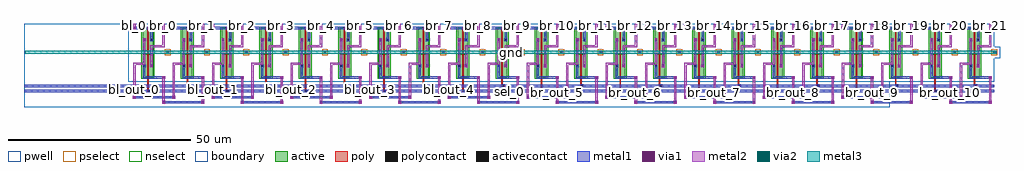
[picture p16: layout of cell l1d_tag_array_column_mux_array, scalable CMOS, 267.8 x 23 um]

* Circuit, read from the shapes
.subckt l1d_tag_array_column_mux_array bl_0 bl_1 bl_10 bl_11 bl_12 bl_13 bl_14 bl_15 bl_16 bl_17 bl_18 bl_19 bl_2 bl_20 bl_21 bl_3 bl_4 bl_5 bl_6 bl_7 bl_8 bl_9 bl_out_0 bl_out_1 bl_out_10 bl_out_2 bl_out_3 bl_out_4 bl_out_5 bl_out_6 bl_out_7 bl_out_8 bl_out_9 br_0 br_1 br_10 br_11 br_12 br_13 br_14 br_15 br_16 br_17 br_18 br_19 br_2 br_20 br_21 br_3 br_4 br_5 br_6 br_7 br_8 br_9 br_out_0 br_out_1 br_out_10 br_out_2 br_out_3 br_out_4 br_out_5 br_out_6 br_out_7 br_out_8 br_out_9 gnd sel_0 sel_1
M1 br_0 sel_0 br_out_0 gnd nfet w=6.4u l=0.4u
M2 bl_0 sel_0 bl_out_0 gnd nfet w=6.4u l=0.4u
M3 br_1 sel_1 br_out_0 gnd nfet w=6.4u l=0.4u
M4 bl_1 sel_1 bl_out_0 gnd nfet w=6.4u l=0.4u
M5 br_2 sel_0 br_out_1 gnd nfet w=6.4u l=0.4u
M6 bl_2 sel_0 bl_out_1 gnd nfet w=6.4u l=0.4u
M7 br_3 sel_1 br_out_1 gnd nfet w=6.4u l=0.4u
M8 bl_3 sel_1 bl_out_1 gnd nfet w=6.4u l=0.4u
M9 br_4 sel_0 br_out_2 gnd nfet w=6.4u l=0.4u
M10 bl_4 sel_0 bl_out_2 gnd nfet w=6.4u l=0.4u
M11 br_5 sel_1 br_out_2 gnd nfet w=6.4u l=0.4u
M12 bl_5 sel_1 bl_out_2 gnd nfet w=6.4u l=0.4u
M13 br_6 sel_0 br_out_3 gnd nfet w=6.4u l=0.4u
M14 bl_6 sel_0 bl_out_3 gnd nfet w=6.4u l=0.4u
M15 br_7 sel_1 br_out_3 gnd nfet w=6.4u l=0.4u
M16 bl_7 sel_1 bl_out_3 gnd nfet w=6.4u l=0.4u
M17 br_8 sel_0 br_out_4 gnd nfet w=6.4u l=0.4u
M18 bl_8 sel_0 bl_out_4 gnd nfet w=6.4u l=0.4u
M19 br_9 sel_1 br_out_4 gnd nfet w=6.4u l=0.4u
M20 bl_9 sel_1 bl_out_4 gnd nfet w=6.4u l=0.4u
M21 br_10 sel_0 br_out_5 gnd nfet w=6.4u l=0.4u
M22 bl_10 sel_0 bl_out_5 gnd nfet w=6.4u l=0.4u
M23 br_11 sel_1 br_out_5 gnd nfet w=6.4u l=0.4u
M24 bl_11 sel_1 bl_out_5 gnd nfet w=6.4u l=0.4u
M25 br_12 sel_0 br_out_6 gnd nfet w=6.4u l=0.4u
M26 bl_12 sel_0 bl_out_6 gnd nfet w=6.4u l=0.4u
M27 br_13 sel_1 br_out_6 gnd nfet w=6.4u l=0.4u
M28 bl_13 sel_1 bl_out_6 gnd nfet w=6.4u l=0.4u
M29 br_14 sel_0 br_out_7 gnd nfet w=6.4u l=0.4u
M30 bl_14 sel_0 bl_out_7 gnd nfet w=6.4u l=0.4u
M31 br_15 sel_1 br_out_7 gnd nfet w=6.4u l=0.4u
M32 bl_15 sel_1 bl_out_7 gnd nfet w=6.4u l=0.4u
M33 br_16 sel_0 br_out_8 gnd nfet w=6.4u l=0.4u
M34 bl_16 sel_0 bl_out_8 gnd nfet w=6.4u l=0.4u
M35 br_17 sel_1 br_out_8 gnd nfet w=6.4u l=0.4u
M36 bl_17 sel_1 bl_out_8 gnd nfet w=6.4u l=0.4u
M37 br_18 sel_0 br_out_9 gnd nfet w=6.4u l=0.4u
M38 bl_18 sel_0 bl_out_9 gnd nfet w=6.4u l=0.4u
M39 br_19 sel_1 br_out_9 gnd nfet w=6.4u l=0.4u
M40 bl_19 sel_1 bl_out_9 gnd nfet w=6.4u l=0.4u
M41 br_20 sel_0 br_out_10 gnd nfet w=6.4u l=0.4u
M42 bl_20 sel_0 bl_out_10 gnd nfet w=6.4u l=0.4u
M43 br_21 sel_1 br_out_10 gnd nfet w=6.4u l=0.4u
M44 bl_21 sel_1 bl_out_10 gnd nfet w=6.4u l=0.4u
.ends

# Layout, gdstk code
import gdstk
lib = gdstk.Library(unit=1e-6, precision=1e-09)
def R(c, l, rs):  # rectangles x0, y0, x1, y1
    for r in rs: c.add(gdstk.rectangle(r[:2], r[2:], *l))
def A(c, l, x, y, w, h, nx, ny, dx, dy):  # array of equal rectangles
    R(c, l, [(x+i*dx, y+j*dy, x+i*dx+w, y+j*dy+h) for i in range(nx) for j in range(ny)])
pwell = (41, 0)
active = (43, 0)
pselect = (44, 0)
nselect = (45, 0)
poly = (46, 0)
polycontact = (47, 0)
activecontact = (48, 0)
metal1 = (49, 0)
via1 = (50, 0)
metal2 = (51, 0)
via2 = (61, 0)
metal3 = (62, 0)
boundary = (63, 0)

l1d_tag_array_contact_10 = lib.new_cell('l1d_tag_array_contact_10')
R(l1d_tag_array_contact_10, pwell, [(-1.2,-1.2,2,2)])
R(l1d_tag_array_contact_10, active, [(0,0,0.8,0.8)])
R(l1d_tag_array_contact_10, nselect, [(-0.4,-0.4,1.2,1.2)])
R(l1d_tag_array_contact_10, activecontact, [(0.2,0.2,0.6,0.6)])
R(l1d_tag_array_contact_10, metal1, [(0,0,0.8,0.8)])
R(l1d_tag_array_contact_10, boundary, [(-1.2,-1.2,2,2)])

l1d_tag_array_nmos_m1_w6 = lib.new_cell('l1d_tag_array_nmos_m1_w6_400_sm1_dm1')
R(l1d_tag_array_nmos_m1_w6, pwell, [(-1.2,-1.2,4,7.6)])
R(l1d_tag_array_nmos_m1_w6, active, [(0,0,2.8,6.4)])
R(l1d_tag_array_nmos_m1_w6, nselect, [(-0.4,-0.4,3.2,6.8)])
R(l1d_tag_array_nmos_m1_w6, poly, [(1.2,-0.4,1.6,6.8), (1.2,-0.4,1.6,6.8)])
R(l1d_tag_array_nmos_m1_w6, metal1, [(0,2.8,0.8,3.6), (2,2.8,2.8,3.6)])
R(l1d_tag_array_nmos_m1_w6, boundary, [(-1.2,-1.2,4,7.6)])
l1d_tag_array_nmos_m1_w6.add(gdstk.Reference(l1d_tag_array_contact_10, (0,2.8)))
l1d_tag_array_nmos_m1_w6.add(gdstk.Reference(l1d_tag_array_contact_10, (2,2.8)))
l1d_tag_array_nmos_m1_w6.add(gdstk.Label('G', (1.4,3.2), layer=46, texttype=0))
l1d_tag_array_nmos_m1_w6.add(gdstk.Label('S', (0.4,3.2), layer=49, texttype=0))
l1d_tag_array_nmos_m1_w6.add(gdstk.Label('D', (2.4,3.2), layer=49, texttype=0))

l1d_tag_array_contact_17 = lib.new_cell('l1d_tag_array_contact_17')
R(l1d_tag_array_contact_17, metal1, [(0,0,0.8,0.8)])
R(l1d_tag_array_contact_17, via1, [(0.2,0.2,0.6,0.6)])
R(l1d_tag_array_contact_17, metal2, [(0,0,0.8,0.8)])
R(l1d_tag_array_contact_17, boundary, [(0,0,0.8,0.8)])

l1d_tag_array_contact_24 = lib.new_cell('l1d_tag_array_contact_24')
R(l1d_tag_array_contact_24, pwell, [(-1.2,-1.2,2,2)])
R(l1d_tag_array_contact_24, active, [(0,0,0.8,0.8)])
R(l1d_tag_array_contact_24, pselect, [(-0.4,-0.4,1.2,1.2)])
R(l1d_tag_array_contact_24, activecontact, [(0.2,0.2,0.6,0.6)])
R(l1d_tag_array_contact_24, metal1, [(0,0,0.8,0.8)])
R(l1d_tag_array_contact_24, boundary, [(-1.2,-1.2,2,2)])

l1d_tag_array_column_mux = lib.new_cell('l1d_tag_array_column_mux')
R(l1d_tag_array_column_mux, pwell, [(0,0,10.8,16)])
R(l1d_tag_array_column_mux, poly, [(5.2,0.8,5.6,1.2), (5.2,7.6,5.6,8.4)])
R(l1d_tag_array_column_mux, metal1, [(4.1,0.9,4.7,1.5), (4.4,0.9,9.7,1.5), (4.1,1.2,4.7,4.4), (10.5,7.8,11.1,8.4), (6.1,11.6,6.7,14.8), (1.4,14.5,6.4,15.1), (6.1,14.5,6.7,15.1)])
R(l1d_tag_array_column_mux, metal2, [(1.4,0,2,1.2), (9.4,0,10,1.2), (1.4,1.2,2,5), (6.1,4.4,6.7,9.8), (1.4,4.7,2,5.3), (1.7,4.7,4.4,5.3), (4.1,4.7,4.7,5.3), (4.1,5,4.7,11.6), (6.1,9.5,6.7,10.1), (6.4,9.5,9.7,10.1), (9.4,9.5,10,10.1), (9.4,9.8,10,14.8), (1.4,14.8,2,16), (9.4,14.8,10,16)])
R(l1d_tag_array_column_mux, boundary, [(0,0,10.8,16)])
l1d_tag_array_column_mux.add(gdstk.Reference(l1d_tag_array_nmos_m1_w6, (4,1.2)))
l1d_tag_array_column_mux.add(gdstk.Reference(l1d_tag_array_nmos_m1_w6, (4,8.4)))
l1d_tag_array_column_mux.add(gdstk.Reference(l1d_tag_array_contact_17, (1.3,14.4)))
l1d_tag_array_column_mux.add(gdstk.Reference(l1d_tag_array_contact_17, (9.3,0.8)))
l1d_tag_array_column_mux.add(gdstk.Reference(l1d_tag_array_contact_17, (4,11.2)))
l1d_tag_array_column_mux.add(gdstk.Reference(l1d_tag_array_contact_17, (6,4)))
l1d_tag_array_column_mux.add(gdstk.Reference(l1d_tag_array_contact_24, (10.4,7.7)))
l1d_tag_array_column_mux.add(gdstk.Reference(l1d_tag_array_contact_17, (10.4,7.7)))
l1d_tag_array_column_mux.add(gdstk.Label('sel', (5.4,1), layer=46, texttype=0))
l1d_tag_array_column_mux.add(gdstk.Label('bl', (1.7,15.4), layer=51, texttype=0))
l1d_tag_array_column_mux.add(gdstk.Label('br', (9.7,15.4), layer=51, texttype=0))
l1d_tag_array_column_mux.add(gdstk.Label('bl_out', (1.7,0.6), layer=51, texttype=0))
l1d_tag_array_column_mux.add(gdstk.Label('br_out', (9.7,0.6), layer=51, texttype=0))
l1d_tag_array_column_mux.add(gdstk.Label('gnd', (10.8,8.1), layer=49, texttype=0))

l1d_tag_array_contact_25 = lib.new_cell('l1d_tag_array_contact_25')
R(l1d_tag_array_contact_25, poly, [(0,0,0.8,0.8)])
R(l1d_tag_array_contact_25, polycontact, [(0.2,0.2,0.6,0.6)])
R(l1d_tag_array_contact_25, metal1, [(0,0,0.8,0.8)])
R(l1d_tag_array_contact_25, boundary, [(0,0,0.8,0.8)])

l1d_tag_array_contact_15 = lib.new_cell('l1d_tag_array_contact_15')
R(l1d_tag_array_contact_15, metal1, [(0,0,0.8,0.8)])
R(l1d_tag_array_contact_15, via1, [(0.2,0.2,0.6,0.6)])
R(l1d_tag_array_contact_15, metal2, [(0,0,0.8,0.8)])
R(l1d_tag_array_contact_15, boundary, [(0,0,0.8,0.8)])

l1d_tag_array_contact_18 = lib.new_cell('l1d_tag_array_contact_18')
R(l1d_tag_array_contact_18, metal2, [(0,0,0.8,0.8)])
R(l1d_tag_array_contact_18, via2, [(0.2,0.2,0.6,0.6)])
R(l1d_tag_array_contact_18, metal3, [(0,0,0.8,0.8)])
R(l1d_tag_array_contact_18, boundary, [(0,0,0.8,0.8)])

c_l1d_tag_array_column_mux = lib.new_cell('l1d_tag_array_column_mux_array')
R(c_l1d_tag_array_column_mux, pwell, [(28.6,7,266.2,23)])
A(c_l1d_tag_array_column_mux, poly, 33.8, 4.3, 0.4, 0.4, 11, 1, 21.6, 0)
A(c_l1d_tag_array_column_mux, poly, 34, 4.3, 0.3, 0.4, 11, 1, 21.6, 0)
A(c_l1d_tag_array_column_mux, poly, 44.6, 5.7, 0.4, 0.4, 11, 1, 21.6, 0)
A(c_l1d_tag_array_column_mux, poly, 44.8, 5.7, 0.3, 0.4, 11, 1, 21.6, 0)
R(c_l1d_tag_array_column_mux, poly, [(33.8,4.5,34.2,7.8), (33.8,4.5,34.2,7.8), (55.4,4.5,55.8,7.8), (55.4,4.5,55.8,7.8), (77,4.5,77.4,7.8), (77,4.5,77.4,7.8), (98.6,4.5,99,7.8), (98.6,4.5,99,7.8), (120.2,4.5,120.6,7.8), (120.2,4.5,120.6,7.8), (141.8,4.5,142.2,7.8), (141.8,4.5,142.2,7.8), (163.4,4.5,163.8,7.8), (163.4,4.5,163.8,7.8), (185,4.5,185.4,7.8), (185,4.5,185.4,7.8), (206.6,4.5,207,7.8), (206.6,4.5,207,7.8), (228.2,4.5,228.6,7.8), (228.2,4.5,228.6,7.8), (249.8,4.5,250.2,7.8), (249.8,4.5,250.2,7.8), (44.6,5.9,45,7.8), (44.6,5.9,45,7.8), (66.2,5.9,66.6,7.8), (66.2,5.9,66.6,7.8), (87.8,5.9,88.2,7.8), (87.8,5.9,88.2,7.8), (109.4,5.9,109.8,7.8), (109.4,5.9,109.8,7.8), (131,5.9,131.4,7.8), (131,5.9,131.4,7.8), (152.6,5.9,153,7.8), (152.6,5.9,153,7.8), (174.2,5.9,174.6,7.8), (174.2,5.9,174.6,7.8), (195.8,5.9,196.2,7.8), (195.8,5.9,196.2,7.8), (217.4,5.9,217.8,7.8), (217.4,5.9,217.8,7.8), (239,5.9,239.4,7.8), (239,5.9,239.4,7.8), (260.6,5.9,261,7.8), (260.6,5.9,261,7.8)])
A(c_l1d_tag_array_column_mux, metal1, 38.3, 1.1, 10.8, 0.6, 11, 1, 21.6, 0)
A(c_l1d_tag_array_column_mux, metal1, 30.3, 2.5, 10.8, 0.6, 11, 1, 21.6, 0)
R(c_l1d_tag_array_column_mux, metal1, [(0,4.2,266.2,4.8), (0,5.6,266.2,6.2)])
A(c_l1d_tag_array_column_mux, metal2, 38, 1.4, 0.6, 5.6, 22, 1, 10.8, 0)
A(c_l1d_tag_array_column_mux, metal2, 30, 2.8, 0.6, 4.2, 22, 1, 10.8, 0)
R(c_l1d_tag_array_column_mux, metal2, [(30,21.8,30.6,23), (38,21.8,38.6,23), (40.8,21.8,41.4,23), (48.8,21.8,49.4,23), (51.6,21.8,52.2,23), (59.6,21.8,60.2,23), (62.4,21.8,63,23), (70.4,21.8,71,23), (73.2,21.8,73.8,23), (81.2,21.8,81.8,23), (84,21.8,84.6,23), (92,21.8,92.6,23), (94.8,21.8,95.4,23), (102.8,21.8,103.4,23), (105.6,21.8,106.2,23), (113.6,21.8,114.2,23), (116.4,21.8,117,23), (124.4,21.8,125,23), (127.2,21.8,127.8,23), (135.2,21.8,135.8,23), (138,21.8,138.6,23), (146,21.8,146.6,23), (148.8,21.8,149.4,23), (156.8,21.8,157.4,23), (159.6,21.8,160.2,23), (167.6,21.8,168.2,23), (170.4,21.8,171,23), (178.4,21.8,179,23), (181.2,21.8,181.8,23), (189.2,21.8,189.8,23), (192,21.8,192.6,23), (200,21.8,200.6,23), (202.8,21.8,203.4,23), (210.8,21.8,211.4,23), (213.6,21.8,214.2,23), (221.6,21.8,222.2,23), (224.4,21.8,225,23), (232.4,21.8,233,23), (235.2,21.8,235.8,23), (243.2,21.8,243.8,23), (246,21.8,246.6,23), (254,21.8,254.6,23), (256.8,21.8,257.4,23), (264.8,21.8,265.4,23)])
R(c_l1d_tag_array_column_mux, metal3, [(0.4,14.7,266.9,15.5)])
R(c_l1d_tag_array_column_mux, boundary, [(0,0,237.6,23)])
c_l1d_tag_array_column_mux.add(gdstk.Reference(l1d_tag_array_column_mux, (28.6,7)))
c_l1d_tag_array_column_mux.add(gdstk.Reference(l1d_tag_array_column_mux, (39.4,7)))
c_l1d_tag_array_column_mux.add(gdstk.Reference(l1d_tag_array_column_mux, (50.2,7)))
c_l1d_tag_array_column_mux.add(gdstk.Reference(l1d_tag_array_column_mux, (61,7)))
c_l1d_tag_array_column_mux.add(gdstk.Reference(l1d_tag_array_column_mux, (71.8,7)))
c_l1d_tag_array_column_mux.add(gdstk.Reference(l1d_tag_array_column_mux, (82.6,7)))
c_l1d_tag_array_column_mux.add(gdstk.Reference(l1d_tag_array_column_mux, (93.4,7)))
c_l1d_tag_array_column_mux.add(gdstk.Reference(l1d_tag_array_column_mux, (104.2,7)))
c_l1d_tag_array_column_mux.add(gdstk.Reference(l1d_tag_array_column_mux, (115,7)))
c_l1d_tag_array_column_mux.add(gdstk.Reference(l1d_tag_array_column_mux, (125.8,7)))
c_l1d_tag_array_column_mux.add(gdstk.Reference(l1d_tag_array_column_mux, (136.6,7)))
c_l1d_tag_array_column_mux.add(gdstk.Reference(l1d_tag_array_column_mux, (147.4,7)))
c_l1d_tag_array_column_mux.add(gdstk.Reference(l1d_tag_array_column_mux, (158.2,7)))
c_l1d_tag_array_column_mux.add(gdstk.Reference(l1d_tag_array_column_mux, (169,7)))
c_l1d_tag_array_column_mux.add(gdstk.Reference(l1d_tag_array_column_mux, (179.8,7)))
c_l1d_tag_array_column_mux.add(gdstk.Reference(l1d_tag_array_column_mux, (190.6,7)))
c_l1d_tag_array_column_mux.add(gdstk.Reference(l1d_tag_array_column_mux, (201.4,7)))
c_l1d_tag_array_column_mux.add(gdstk.Reference(l1d_tag_array_column_mux, (212.2,7)))
c_l1d_tag_array_column_mux.add(gdstk.Reference(l1d_tag_array_column_mux, (223,7)))
c_l1d_tag_array_column_mux.add(gdstk.Reference(l1d_tag_array_column_mux, (233.8,7)))
c_l1d_tag_array_column_mux.add(gdstk.Reference(l1d_tag_array_column_mux, (244.6,7)))
c_l1d_tag_array_column_mux.add(gdstk.Reference(l1d_tag_array_column_mux, (255.4,7)))
c_l1d_tag_array_column_mux.add(gdstk.Reference(l1d_tag_array_contact_25, (33.9,4.1)))
c_l1d_tag_array_column_mux.add(gdstk.Reference(l1d_tag_array_contact_25, (44.7,5.5)))
c_l1d_tag_array_column_mux.add(gdstk.Reference(l1d_tag_array_contact_25, (55.5,4.1)))
c_l1d_tag_array_column_mux.add(gdstk.Reference(l1d_tag_array_contact_25, (66.3,5.5)))
c_l1d_tag_array_column_mux.add(gdstk.Reference(l1d_tag_array_contact_25, (77.1,4.1)))
c_l1d_tag_array_column_mux.add(gdstk.Reference(l1d_tag_array_contact_25, (87.9,5.5)))
c_l1d_tag_array_column_mux.add(gdstk.Reference(l1d_tag_array_contact_25, (98.7,4.1)))
c_l1d_tag_array_column_mux.add(gdstk.Reference(l1d_tag_array_contact_25, (109.5,5.5)))
c_l1d_tag_array_column_mux.add(gdstk.Reference(l1d_tag_array_contact_25, (120.3,4.1)))
c_l1d_tag_array_column_mux.add(gdstk.Reference(l1d_tag_array_contact_25, (131.1,5.5)))
c_l1d_tag_array_column_mux.add(gdstk.Reference(l1d_tag_array_contact_25, (141.9,4.1)))
c_l1d_tag_array_column_mux.add(gdstk.Reference(l1d_tag_array_contact_25, (152.7,5.5)))
c_l1d_tag_array_column_mux.add(gdstk.Reference(l1d_tag_array_contact_25, (163.5,4.1)))
c_l1d_tag_array_column_mux.add(gdstk.Reference(l1d_tag_array_contact_25, (174.3,5.5)))
c_l1d_tag_array_column_mux.add(gdstk.Reference(l1d_tag_array_contact_25, (185.1,4.1)))
c_l1d_tag_array_column_mux.add(gdstk.Reference(l1d_tag_array_contact_25, (195.9,5.5)))
c_l1d_tag_array_column_mux.add(gdstk.Reference(l1d_tag_array_contact_25, (206.7,4.1)))
c_l1d_tag_array_column_mux.add(gdstk.Reference(l1d_tag_array_contact_25, (217.5,5.5)))
c_l1d_tag_array_column_mux.add(gdstk.Reference(l1d_tag_array_contact_25, (228.3,4.1)))
c_l1d_tag_array_column_mux.add(gdstk.Reference(l1d_tag_array_contact_25, (239.1,5.5)))
c_l1d_tag_array_column_mux.add(gdstk.Reference(l1d_tag_array_contact_25, (249.9,4.1)))
c_l1d_tag_array_column_mux.add(gdstk.Reference(l1d_tag_array_contact_25, (260.7,5.5)))
c_l1d_tag_array_column_mux.add(gdstk.Reference(l1d_tag_array_contact_15, (29.9,2.4)))
c_l1d_tag_array_column_mux.add(gdstk.Reference(l1d_tag_array_contact_15, (37.9,1)))
c_l1d_tag_array_column_mux.add(gdstk.Reference(l1d_tag_array_contact_15, (40.7,2.4)))
c_l1d_tag_array_column_mux.add(gdstk.Reference(l1d_tag_array_contact_15, (48.7,1)))
c_l1d_tag_array_column_mux.add(gdstk.Reference(l1d_tag_array_contact_15, (51.5,2.4)))
c_l1d_tag_array_column_mux.add(gdstk.Reference(l1d_tag_array_contact_15, (59.5,1)))
c_l1d_tag_array_column_mux.add(gdstk.Reference(l1d_tag_array_contact_15, (62.3,2.4)))
c_l1d_tag_array_column_mux.add(gdstk.Reference(l1d_tag_array_contact_15, (70.3,1)))
c_l1d_tag_array_column_mux.add(gdstk.Reference(l1d_tag_array_contact_15, (73.1,2.4)))
c_l1d_tag_array_column_mux.add(gdstk.Reference(l1d_tag_array_contact_15, (81.1,1)))
c_l1d_tag_array_column_mux.add(gdstk.Reference(l1d_tag_array_contact_15, (83.9,2.4)))
c_l1d_tag_array_column_mux.add(gdstk.Reference(l1d_tag_array_contact_15, (91.9,1)))
c_l1d_tag_array_column_mux.add(gdstk.Reference(l1d_tag_array_contact_15, (94.7,2.4)))
c_l1d_tag_array_column_mux.add(gdstk.Reference(l1d_tag_array_contact_15, (102.7,1)))
c_l1d_tag_array_column_mux.add(gdstk.Reference(l1d_tag_array_contact_15, (105.5,2.4)))
c_l1d_tag_array_column_mux.add(gdstk.Reference(l1d_tag_array_contact_15, (113.5,1)))
c_l1d_tag_array_column_mux.add(gdstk.Reference(l1d_tag_array_contact_15, (116.3,2.4)))
c_l1d_tag_array_column_mux.add(gdstk.Reference(l1d_tag_array_contact_15, (124.3,1)))
c_l1d_tag_array_column_mux.add(gdstk.Reference(l1d_tag_array_contact_15, (127.1,2.4)))
c_l1d_tag_array_column_mux.add(gdstk.Reference(l1d_tag_array_contact_15, (135.1,1)))
c_l1d_tag_array_column_mux.add(gdstk.Reference(l1d_tag_array_contact_15, (137.9,2.4)))
c_l1d_tag_array_column_mux.add(gdstk.Reference(l1d_tag_array_contact_15, (145.9,1)))
c_l1d_tag_array_column_mux.add(gdstk.Reference(l1d_tag_array_contact_15, (148.7,2.4)))
c_l1d_tag_array_column_mux.add(gdstk.Reference(l1d_tag_array_contact_15, (156.7,1)))
c_l1d_tag_array_column_mux.add(gdstk.Reference(l1d_tag_array_contact_15, (159.5,2.4)))
c_l1d_tag_array_column_mux.add(gdstk.Reference(l1d_tag_array_contact_15, (167.5,1)))
c_l1d_tag_array_column_mux.add(gdstk.Reference(l1d_tag_array_contact_15, (170.3,2.4)))
c_l1d_tag_array_column_mux.add(gdstk.Reference(l1d_tag_array_contact_15, (178.3,1)))
c_l1d_tag_array_column_mux.add(gdstk.Reference(l1d_tag_array_contact_15, (181.1,2.4)))
c_l1d_tag_array_column_mux.add(gdstk.Reference(l1d_tag_array_contact_15, (189.1,1)))
c_l1d_tag_array_column_mux.add(gdstk.Reference(l1d_tag_array_contact_15, (191.9,2.4)))
c_l1d_tag_array_column_mux.add(gdstk.Reference(l1d_tag_array_contact_15, (199.9,1)))
c_l1d_tag_array_column_mux.add(gdstk.Reference(l1d_tag_array_contact_15, (202.7,2.4)))
c_l1d_tag_array_column_mux.add(gdstk.Reference(l1d_tag_array_contact_15, (210.7,1)))
c_l1d_tag_array_column_mux.add(gdstk.Reference(l1d_tag_array_contact_15, (213.5,2.4)))
c_l1d_tag_array_column_mux.add(gdstk.Reference(l1d_tag_array_contact_15, (221.5,1)))
c_l1d_tag_array_column_mux.add(gdstk.Reference(l1d_tag_array_contact_15, (224.3,2.4)))
c_l1d_tag_array_column_mux.add(gdstk.Reference(l1d_tag_array_contact_15, (232.3,1)))
c_l1d_tag_array_column_mux.add(gdstk.Reference(l1d_tag_array_contact_15, (235.1,2.4)))
c_l1d_tag_array_column_mux.add(gdstk.Reference(l1d_tag_array_contact_15, (243.1,1)))
c_l1d_tag_array_column_mux.add(gdstk.Reference(l1d_tag_array_contact_15, (245.9,2.4)))
c_l1d_tag_array_column_mux.add(gdstk.Reference(l1d_tag_array_contact_15, (253.9,1)))
c_l1d_tag_array_column_mux.add(gdstk.Reference(l1d_tag_array_contact_15, (256.7,2.4)))
c_l1d_tag_array_column_mux.add(gdstk.Reference(l1d_tag_array_contact_15, (264.7,1)))
c_l1d_tag_array_column_mux.add(gdstk.Reference(l1d_tag_array_contact_17, (39,14.7)))
c_l1d_tag_array_column_mux.add(gdstk.Reference(l1d_tag_array_contact_18, (39,14.7)))
c_l1d_tag_array_column_mux.add(gdstk.Reference(l1d_tag_array_contact_17, (49.8,14.7)))
c_l1d_tag_array_column_mux.add(gdstk.Reference(l1d_tag_array_contact_18, (49.8,14.7)))
c_l1d_tag_array_column_mux.add(gdstk.Reference(l1d_tag_array_contact_17, (60.6,14.7)))
c_l1d_tag_array_column_mux.add(gdstk.Reference(l1d_tag_array_contact_18, (60.6,14.7)))
c_l1d_tag_array_column_mux.add(gdstk.Reference(l1d_tag_array_contact_17, (71.4,14.7)))
c_l1d_tag_array_column_mux.add(gdstk.Reference(l1d_tag_array_contact_18, (71.4,14.7)))
c_l1d_tag_array_column_mux.add(gdstk.Reference(l1d_tag_array_contact_17, (82.2,14.7)))
c_l1d_tag_array_column_mux.add(gdstk.Reference(l1d_tag_array_contact_18, (82.2,14.7)))
c_l1d_tag_array_column_mux.add(gdstk.Reference(l1d_tag_array_contact_17, (93,14.7)))
c_l1d_tag_array_column_mux.add(gdstk.Reference(l1d_tag_array_contact_18, (93,14.7)))
c_l1d_tag_array_column_mux.add(gdstk.Reference(l1d_tag_array_contact_17, (103.8,14.7)))
c_l1d_tag_array_column_mux.add(gdstk.Reference(l1d_tag_array_contact_18, (103.8,14.7)))
c_l1d_tag_array_column_mux.add(gdstk.Reference(l1d_tag_array_contact_17, (114.6,14.7)))
c_l1d_tag_array_column_mux.add(gdstk.Reference(l1d_tag_array_contact_18, (114.6,14.7)))
c_l1d_tag_array_column_mux.add(gdstk.Reference(l1d_tag_array_contact_17, (125.4,14.7)))
c_l1d_tag_array_column_mux.add(gdstk.Reference(l1d_tag_array_contact_18, (125.4,14.7)))
c_l1d_tag_array_column_mux.add(gdstk.Reference(l1d_tag_array_contact_17, (136.2,14.7)))
c_l1d_tag_array_column_mux.add(gdstk.Reference(l1d_tag_array_contact_18, (136.2,14.7)))
c_l1d_tag_array_column_mux.add(gdstk.Reference(l1d_tag_array_contact_17, (147,14.7)))
c_l1d_tag_array_column_mux.add(gdstk.Reference(l1d_tag_array_contact_18, (147,14.7)))
c_l1d_tag_array_column_mux.add(gdstk.Reference(l1d_tag_array_contact_17, (157.8,14.7)))
c_l1d_tag_array_column_mux.add(gdstk.Reference(l1d_tag_array_contact_18, (157.8,14.7)))
c_l1d_tag_array_column_mux.add(gdstk.Reference(l1d_tag_array_contact_17, (168.6,14.7)))
c_l1d_tag_array_column_mux.add(gdstk.Reference(l1d_tag_array_contact_18, (168.6,14.7)))
c_l1d_tag_array_column_mux.add(gdstk.Reference(l1d_tag_array_contact_17, (179.4,14.7)))
c_l1d_tag_array_column_mux.add(gdstk.Reference(l1d_tag_array_contact_18, (179.4,14.7)))
c_l1d_tag_array_column_mux.add(gdstk.Reference(l1d_tag_array_contact_17, (190.2,14.7)))
c_l1d_tag_array_column_mux.add(gdstk.Reference(l1d_tag_array_contact_18, (190.2,14.7)))
c_l1d_tag_array_column_mux.add(gdstk.Reference(l1d_tag_array_contact_17, (201,14.7)))
c_l1d_tag_array_column_mux.add(gdstk.Reference(l1d_tag_array_contact_18, (201,14.7)))
c_l1d_tag_array_column_mux.add(gdstk.Reference(l1d_tag_array_contact_17, (211.8,14.7)))
c_l1d_tag_array_column_mux.add(gdstk.Reference(l1d_tag_array_contact_18, (211.8,14.7)))
c_l1d_tag_array_column_mux.add(gdstk.Reference(l1d_tag_array_contact_17, (222.6,14.7)))
c_l1d_tag_array_column_mux.add(gdstk.Reference(l1d_tag_array_contact_18, (222.6,14.7)))
c_l1d_tag_array_column_mux.add(gdstk.Reference(l1d_tag_array_contact_17, (233.4,14.7)))
c_l1d_tag_array_column_mux.add(gdstk.Reference(l1d_tag_array_contact_18, (233.4,14.7)))
c_l1d_tag_array_column_mux.add(gdstk.Reference(l1d_tag_array_contact_17, (244.2,14.7)))
c_l1d_tag_array_column_mux.add(gdstk.Reference(l1d_tag_array_contact_18, (244.2,14.7)))
c_l1d_tag_array_column_mux.add(gdstk.Reference(l1d_tag_array_contact_17, (255,14.7)))
c_l1d_tag_array_column_mux.add(gdstk.Reference(l1d_tag_array_contact_18, (255,14.7)))
c_l1d_tag_array_column_mux.add(gdstk.Reference(l1d_tag_array_contact_17, (265.8,14.7)))
c_l1d_tag_array_column_mux.add(gdstk.Reference(l1d_tag_array_contact_18, (265.8,14.7)))
c_l1d_tag_array_column_mux.add(gdstk.Label('sel_0', (133.1,4.5), layer=49, texttype=0))
c_l1d_tag_array_column_mux.add(gdstk.Label('sel_1', (133.1,5.9), layer=49, texttype=0))
c_l1d_tag_array_column_mux.add(gdstk.Label('bl_out_0', (30.3,4.9), layer=51, texttype=0))
c_l1d_tag_array_column_mux.add(gdstk.Label('br_out_0', (38.3,4.2), layer=51, texttype=0))
c_l1d_tag_array_column_mux.add(gdstk.Label('bl_out_1', (51.9,4.9), layer=51, texttype=0))
c_l1d_tag_array_column_mux.add(gdstk.Label('br_out_1', (59.9,4.2), layer=51, texttype=0))
c_l1d_tag_array_column_mux.add(gdstk.Label('bl_out_2', (73.5,4.9), layer=51, texttype=0))
c_l1d_tag_array_column_mux.add(gdstk.Label('br_out_2', (81.5,4.2), layer=51, texttype=0))
c_l1d_tag_array_column_mux.add(gdstk.Label('bl_out_3', (95.1,4.9), layer=51, texttype=0))
c_l1d_tag_array_column_mux.add(gdstk.Label('br_out_3', (103.1,4.2), layer=51, texttype=0))
c_l1d_tag_array_column_mux.add(gdstk.Label('bl_out_4', (116.7,4.9), layer=51, texttype=0))
c_l1d_tag_array_column_mux.add(gdstk.Label('br_out_4', (124.7,4.2), layer=51, texttype=0))
c_l1d_tag_array_column_mux.add(gdstk.Label('bl_out_5', (138.3,4.9), layer=51, texttype=0))
c_l1d_tag_array_column_mux.add(gdstk.Label('br_out_5', (146.3,4.2), layer=51, texttype=0))
c_l1d_tag_array_column_mux.add(gdstk.Label('bl_out_6', (159.9,4.9), layer=51, texttype=0))
c_l1d_tag_array_column_mux.add(gdstk.Label('br_out_6', (167.9,4.2), layer=51, texttype=0))
c_l1d_tag_array_column_mux.add(gdstk.Label('bl_out_7', (181.5,4.9), layer=51, texttype=0))
c_l1d_tag_array_column_mux.add(gdstk.Label('br_out_7', (189.5,4.2), layer=51, texttype=0))
c_l1d_tag_array_column_mux.add(gdstk.Label('bl_out_8', (203.1,4.9), layer=51, texttype=0))
c_l1d_tag_array_column_mux.add(gdstk.Label('br_out_8', (211.1,4.2), layer=51, texttype=0))
c_l1d_tag_array_column_mux.add(gdstk.Label('bl_out_9', (224.7,4.9), layer=51, texttype=0))
c_l1d_tag_array_column_mux.add(gdstk.Label('br_out_9', (232.7,4.2), layer=51, texttype=0))
c_l1d_tag_array_column_mux.add(gdstk.Label('bl_out_10', (246.3,4.9), layer=51, texttype=0))
c_l1d_tag_array_column_mux.add(gdstk.Label('br_out_10', (254.3,4.2), layer=51, texttype=0))
c_l1d_tag_array_column_mux.add(gdstk.Label('gnd', (133.65,15.1), layer=62, texttype=0))
c_l1d_tag_array_column_mux.add(gdstk.Label('bl_0', (30.3,22.4), layer=51, texttype=0))
c_l1d_tag_array_column_mux.add(gdstk.Label('br_0', (38.3,22.4), layer=51, texttype=0))
c_l1d_tag_array_column_mux.add(gdstk.Label('bl_1', (41.1,22.4), layer=51, texttype=0))
c_l1d_tag_array_column_mux.add(gdstk.Label('br_1', (49.1,22.4), layer=51, texttype=0))
c_l1d_tag_array_column_mux.add(gdstk.Label('bl_2', (51.9,22.4), layer=51, texttype=0))
c_l1d_tag_array_column_mux.add(gdstk.Label('br_2', (59.9,22.4), layer=51, texttype=0))
c_l1d_tag_array_column_mux.add(gdstk.Label('bl_3', (62.7,22.4), layer=51, texttype=0))
c_l1d_tag_array_column_mux.add(gdstk.Label('br_3', (70.7,22.4), layer=51, texttype=0))
c_l1d_tag_array_column_mux.add(gdstk.Label('bl_4', (73.5,22.4), layer=51, texttype=0))
c_l1d_tag_array_column_mux.add(gdstk.Label('br_4', (81.5,22.4), layer=51, texttype=0))
c_l1d_tag_array_column_mux.add(gdstk.Label('bl_5', (84.3,22.4), layer=51, texttype=0))
c_l1d_tag_array_column_mux.add(gdstk.Label('br_5', (92.3,22.4), layer=51, texttype=0))
c_l1d_tag_array_column_mux.add(gdstk.Label('bl_6', (95.1,22.4), layer=51, texttype=0))
c_l1d_tag_array_column_mux.add(gdstk.Label('br_6', (103.1,22.4), layer=51, texttype=0))
c_l1d_tag_array_column_mux.add(gdstk.Label('bl_7', (105.9,22.4), layer=51, texttype=0))
c_l1d_tag_array_column_mux.add(gdstk.Label('br_7', (113.9,22.4), layer=51, texttype=0))
c_l1d_tag_array_column_mux.add(gdstk.Label('bl_8', (116.7,22.4), layer=51, texttype=0))
c_l1d_tag_array_column_mux.add(gdstk.Label('br_8', (124.7,22.4), layer=51, texttype=0))
c_l1d_tag_array_column_mux.add(gdstk.Label('bl_9', (127.5,22.4), layer=51, texttype=0))
c_l1d_tag_array_column_mux.add(gdstk.Label('br_9', (135.5,22.4), layer=51, texttype=0))
c_l1d_tag_array_column_mux.add(gdstk.Label('bl_10', (138.3,22.4), layer=51, texttype=0))
c_l1d_tag_array_column_mux.add(gdstk.Label('br_10', (146.3,22.4), layer=51, texttype=0))
c_l1d_tag_array_column_mux.add(gdstk.Label('bl_11', (149.1,22.4), layer=51, texttype=0))
c_l1d_tag_array_column_mux.add(gdstk.Label('br_11', (157.1,22.4), layer=51, texttype=0))
c_l1d_tag_array_column_mux.add(gdstk.Label('bl_12', (159.9,22.4), layer=51, texttype=0))
c_l1d_tag_array_column_mux.add(gdstk.Label('br_12', (167.9,22.4), layer=51, texttype=0))
c_l1d_tag_array_column_mux.add(gdstk.Label('bl_13', (170.7,22.4), layer=51, texttype=0))
c_l1d_tag_array_column_mux.add(gdstk.Label('br_13', (178.7,22.4), layer=51, texttype=0))
c_l1d_tag_array_column_mux.add(gdstk.Label('bl_14', (181.5,22.4), layer=51, texttype=0))
c_l1d_tag_array_column_mux.add(gdstk.Label('br_14', (189.5,22.4), layer=51, texttype=0))
c_l1d_tag_array_column_mux.add(gdstk.Label('bl_15', (192.3,22.4), layer=51, texttype=0))
c_l1d_tag_array_column_mux.add(gdstk.Label('br_15', (200.3,22.4), layer=51, texttype=0))
c_l1d_tag_array_column_mux.add(gdstk.Label('bl_16', (203.1,22.4), layer=51, texttype=0))
c_l1d_tag_array_column_mux.add(gdstk.Label('br_16', (211.1,22.4), layer=51, texttype=0))
c_l1d_tag_array_column_mux.add(gdstk.Label('bl_17', (213.9,22.4), layer=51, texttype=0))
c_l1d_tag_array_column_mux.add(gdstk.Label('br_17', (221.9,22.4), layer=51, texttype=0))
c_l1d_tag_array_column_mux.add(gdstk.Label('bl_18', (224.7,22.4), layer=51, texttype=0))
c_l1d_tag_array_column_mux.add(gdstk.Label('br_18', (232.7,22.4), layer=51, texttype=0))
c_l1d_tag_array_column_mux.add(gdstk.Label('bl_19', (235.5,22.4), layer=51, texttype=0))
c_l1d_tag_array_column_mux.add(gdstk.Label('br_19', (243.5,22.4), layer=51, texttype=0))
c_l1d_tag_array_column_mux.add(gdstk.Label('bl_20', (246.3,22.4), layer=51, texttype=0))
c_l1d_tag_array_column_mux.add(gdstk.Label('br_20', (254.3,22.4), layer=51, texttype=0))
c_l1d_tag_array_column_mux.add(gdstk.Label('bl_21', (257.1,22.4), layer=51, texttype=0))
c_l1d_tag_array_column_mux.add(gdstk.Label('br_21', (265.1,22.4), layer=51, texttype=0))

lib.write_gds('l1d_tag_array_column_mux_array.gds')
